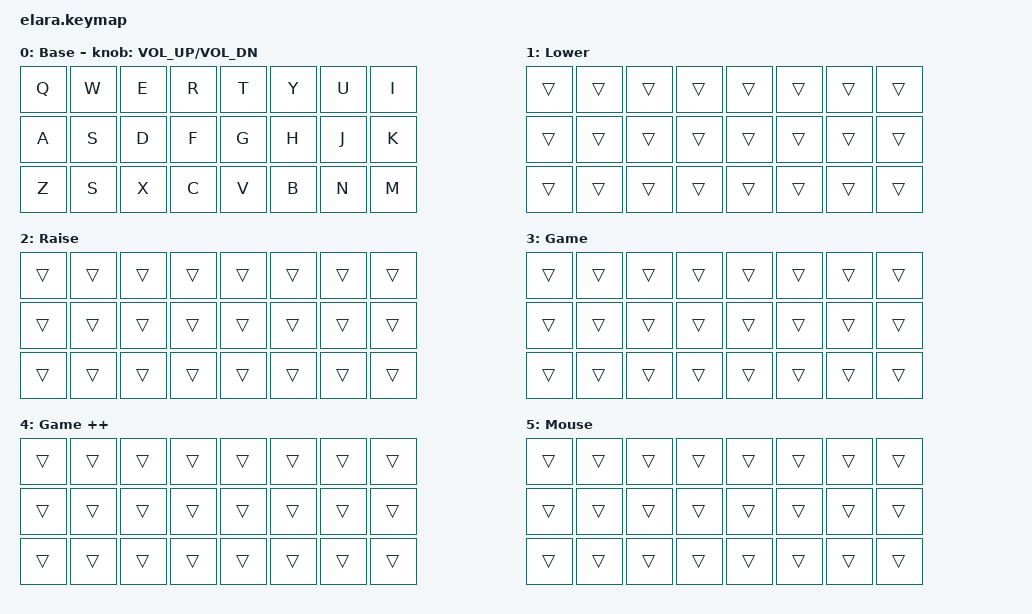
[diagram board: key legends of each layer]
#include <behaviors.dtsi>
#include <dt-bindings/zmk/mouse.h>
#include <behaviors/mouse_keys.dtsi>
#include <dt-bindings/zmk/keys.h>
#include <dt-bindings/zmk/bt.h>
#include <dt-bindings/zmk/outputs.h>
#include <dt-bindings/zmk/keys.h>

#define HAS_MOUSE_KEYS
#define HAS_MOUSE_TP


#define BASE 0
#define LOWER 1
#define MOUSE_KEYS 2
#define MOUSE_TP 3
#define MOUSE_TP_SET 4

#ifdef HAS_MOUSE_TP
  #include "include/mouse_tp.dtsi"
#endif  // HAS_MOUSE_TP
#ifdef HAS_MOUSE_KEYS
  #define U_THUMB_INNER &mo MOUSE_KEYS
#else
  #define U_THUMB_INNER &none
#endif  // HAS_MOUSE_KEYS

#ifdef HAS_MOUSE_TP
  #define U_TOG_TP_SET &tog MOUSE_TP_SET
#else
  #define U_TOG_TP_SET &none
#endif  // HAS_MOUSE_TP

&lt {
    tapping-term-ms = <240>;
    flavor = "balanced";
    quick-tap-ms = <150>;
};

/ {
    keymap {
        compatible = "zmk,keymap";

        Base {
            label = "Base";
            bindings = <
                &kp Q    &kp W    &kp E    &kp R    &kp T    &kp Y    &kp U    &kp I
                &kp A    &kp S    &kp D    &kp F    &kp G    &kp H    &kp J    &kp K
                &kp Z    &kp S    &kp X    &kp C    &kp V    &kp B    &kp N    &kp M
            >;

            sensor-bindings = <&inc_dec_kp C_VOL_UP C_VOL_DN>;
        };

        Lower {
            label = "Lower";
            bindings = <
                &trans    &trans    &trans    &trans    &trans    &trans     &trans    &trans 
                &trans    &trans    &trans    &trans    &trans    &trans     &trans    &trans 
                &trans    &trans    &trans    &trans    &trans    &trans     &trans    &trans 
            >;
        };

        Raise {
            label = "Raise";
            bindings = <
                &trans    &trans    &trans    &trans    &trans    &trans     &trans    &trans 
                &trans    &trans    &trans    &trans    &trans    &trans     &trans    &trans 
                &trans    &trans    &trans    &trans    &trans    &trans     &trans    &trans 
            >;
        };

        Game {
            label = "Game";
            bindings = <
                &trans    &trans    &trans    &trans    &trans    &trans     &trans    &trans 
                &trans    &trans    &trans    &trans    &trans    &trans     &trans    &trans 
                &trans    &trans    &trans    &trans    &trans    &trans     &trans    &trans 
            >;
        };

        Game_++ {
            label = "Game ++";
            bindings = <
                &trans    &trans    &trans    &trans    &trans    &trans     &trans    &trans 
                &trans    &trans    &trans    &trans    &trans    &trans     &trans    &trans 
                &trans    &trans    &trans    &trans    &trans    &trans     &trans    &trans 
            >;
        };

        Mouse {
            bindings = <
                &trans    &trans    &trans    &trans    &trans    &trans     &trans    &trans 
                &trans    &trans    &trans    &trans    &trans    &trans     &trans    &trans 
                &trans    &trans    &trans    &trans    &trans    &trans     &trans    &trans 
            >;
        };
    };
};
